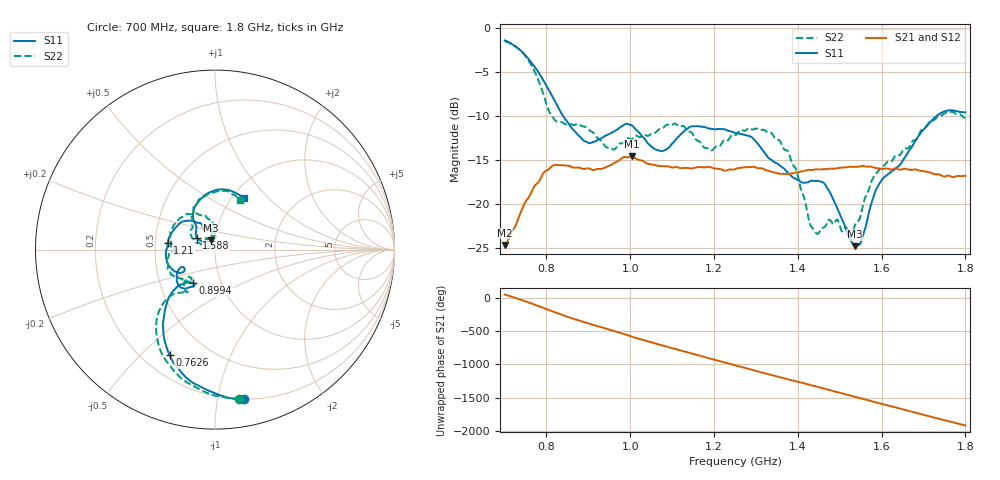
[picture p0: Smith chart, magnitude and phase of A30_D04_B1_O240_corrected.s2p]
! Created with skrf 1.9.0 (http://scikit-rf.org).
# Hz S RI R 50.0
!freq ReS11 ImS11 ReS21 ImS21 ReS12 ImS12 ReS22 ImS22
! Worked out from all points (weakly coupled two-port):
!   1601 points, 700 MHz to 1.8 GHz, reference 50 ohm
!   highest |S21| = -14.62 dB at 1.003 GHz (marker M1); lowest = -24.7 dB at 700 MHz (marker M2)
!   lowest |S11| = -24.8 dB at 1.536 GHz (marker M3), VSWR 1.12, Z = 47.3 + j4.91 ohm
!   |S11| at or under -10 dB: 839.3 MHz to 1.732 GHz (892.3 MHz wide, 69.4 % of centre)
!   |S22| runs from -23.8 to -1.5 dB; largest |S21 - S12| = 0.0033
!   S11 on the Smith chart (normalised r, x): 700 MHz: 0.20, -1.19; 762.6 MHz: 0.31, -0.61; 899.4 MHz: 0.73, -0.29; 1.21 GHz: 0.58, +0.04; 1.588 GHz: 0.81, +0.11; 1.8 GHz: 1.14, +0.73
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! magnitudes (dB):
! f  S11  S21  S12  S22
! 700 MHz  -1.4  -24.7  -24.5  -1.5
! 762.6 MHz  -3.9  -18.8  -18.8  -4.1
! 817.6 MHz  -8.1  -15.6  -15.7  -10.3
! 883.6 MHz  -12.6  -16.0  -15.9  -11.1
! 899.4 MHz  -13.1  -16.0  -16.0  -11.5
! 957.8 MHz  -11.9  -15.5  -15.5  -13.8
! 1.003 GHz  -11.1  -14.6  -14.7  -12.7
! 1.067 GHz  -13.9  -15.7  -15.6  -11.6
! 1.144 GHz  -11.2  -16.0  -16.0  -11.8
! 1.21 GHz  -11.5  -16.0  -16.0  -13.5
! 1.25 GHz  -11.9  -16.1  -16.0  -12.2
! 1.357 GHz  -15.6  -16.6  -16.5  -12.8
! 1.396 GHz  -17.2  -16.5  -16.4  -16.1
! 1.434 GHz  -17.4  -16.2  -16.1  -22.7
! 1.467 GHz  -18.0  -16.1  -16.0  -22.4
! 1.526 GHz  -24.1  -15.8  -15.8  -23.8
! 1.536 GHz  -24.8  -15.8  -15.8  -22.5
! 1.552 GHz  -24.2  -15.7  -15.7  -21.0
! 1.588 GHz  -18.3  -15.9  -15.9  -16.6
! 1.617 GHz  -16.6  -16.0  -16.0  -15.2
! 1.731 GHz  -10.0  -16.6  -16.6  -10.2
! 1.8 GHz  -9.6  -16.8  -16.8  -10.2
